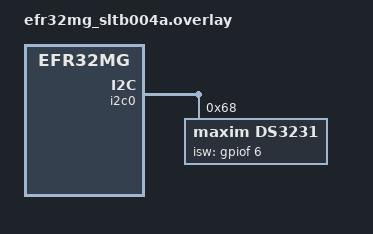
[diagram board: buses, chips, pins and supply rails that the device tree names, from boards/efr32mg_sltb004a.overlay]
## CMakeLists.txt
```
# SPDX-License-Identifier: Apache-2.0

cmake_minimum_required(VERSION 3.13.1)
find_package(Zephyr HINTS $ENV{ZEPHYR_BASE})
project(rtc_ds3231)

FILE(GLOB app_sources src/*.c)
target_sources(app PRIVATE ${app_sources})
```

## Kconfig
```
# Copyright (c) 2019 Peter Bigot Consulting, LLC
#
# SPDX-License-Identifier: Apache-2.0
#

config APP_SET_ALIGNED_CLOCK
	bool "Option to align RTC with time-since-boot"
	help
	  If enabled this reads the RTC then sets it so that uptime
	  shows as being relative to the start of the next hour.

config APP_ALIGNED_CLOCK_POSIX
	int "Optional time to use when aligning the RTC"
	depends on APP_SET_ALIGNED_CLOCK
	help
	  If provided this value, rather than the current RTC value,
	  will be used when aligning the RTC with time-since boot.

	  The value should be the number of seconds since
	  1970-01-01T00:00:00Z.  For example, 1546300800 corresponds
	  to 2019-01-01T00:00:00Z.

source "$ZEPHYR_BASE/Kconfig"
```

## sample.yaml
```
sample:
  description: DS3231 sample program
  name: rtc_ds3231
tests:
  sample.driver.rtc_ds3231:
    build_only: true
    platform_whitelist: efr32mg_sltb004a frdm_k64f nrf51_pca10028 nucleo_l476rg particle_xenon
```

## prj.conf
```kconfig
CONFIG_PRINTK=y

CONFIG_I2C=y
CONFIG_COUNTER=y
CONFIG_COUNTER_DS3231=y

# Minimal libc doesn't have strftime()
CONFIG_NEWLIB_LIBC=y

# Optional step that syncs RTC and local clock.  Don't enable this if
# your RTC has already been synchronized and you want to keep its
# setting.
CONFIG_APP_SET_ALIGNED_CLOCK=y

#CONFIG_LOG=y
#CONFIG_COUNTER_LOG_LEVEL_DBG=y
```

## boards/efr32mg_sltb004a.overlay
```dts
/*
 * Copyright (c) 2019 Peter Bigot Consulting, LLC
 *
 * SPDX-License-Identifier: Apache-2.0
 */

&i2c0 { /* SDA H16=PC10, SCL H15=PC11, ISW H13=PF6 */
	ds3231@68 {
		compatible = "maxim,ds3231";
		reg = <0x68>;
		label = "DS3231";
		isw-gpios = <&gpiof 6 0>;
	};
};
```

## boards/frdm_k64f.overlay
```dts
/*
 * Copyright (c) 2019 Peter Bigot Consulting, LLC
 *
 * SPDX-License-Identifier: Apache-2.0
 */

&i2c0 { /* SDA PTE25, SCL PTE24, ISW PTE26 */
	ds3231@68 {
		compatible = "maxim,ds3231";
		reg = <0x68>;
		label = "DS3231";
		isw-gpios = <&gpioe 26 0>;
	};
};
```

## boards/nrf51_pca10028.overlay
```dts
/*
 * Copyright (c) 2019 Peter Bigot Consulting, LLC
 *
 * SPDX-License-Identifier: Apache-2.0
 */

&i2c0 { /* SDA 30, SCL 7 */
	ds3231@68 {
		compatible = "maxim,ds3231";
		reg = <0x68>;
		label = "DS3231";
		isw-gpios = <&gpio0 0 0>;
	};
};
```

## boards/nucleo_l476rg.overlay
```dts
/*
 * Copyright (c) 2019 Peter Bigot Consulting, LLC
 *
 * SPDX-License-Identifier: Apache-2.0
 */

&i2c1 { /* SDA CN5.9=PB9, SCL CN5.10=PB8, ISW CN5.1=D8=PA9 */
	ds3231@68 {
		compatible = "maxim,ds3231";
		reg = <0x68>;
		label = "DS3231";
		isw-gpios = <&gpioa 9 0>;
	};
};
```

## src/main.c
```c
/*
 * Copyright (c) 2019-2020 Peter Bigot Consulting, LLC
 *
 * SPDX-License-Identifier: Apache-2.0
 */

#include <stdio.h>

#include <zephyr.h>
#include <device.h>
#include <drivers/counter.h>
#include <sys/printk.h>
#include <drivers/rtc/ds3231.h>

/* Format times as: YYYY-MM-DD HH:MM:SS DOW DOY */
static const char *format_time(time_t time,
			       long nsec)
{
	static char buf[64];
	char *bp = buf;
	char *const bpe = bp + sizeof(buf);
	struct tm tv;
	struct tm *tp = gmtime_r(&time, &tv);

	bp += strftime(bp, bpe - bp, "%Y-%m-%d %H:%M:%S", tp);
	if (nsec >= 0) {
		bp += snprintf(bp, bpe - bp, ".%09lu", nsec);
	}
	bp += strftime(bp, bpe - bp, " %a %j", tp);
	return buf;
}

static void sec_counter_callback(struct device *dev,
				 u8_t id,
				 u32_t ticks,
				 void *ud)
{
	printk("Counter callback at %u ms, id %d, ticks %u, ud %p\n",
	       k_uptime_get_32(), id, ticks, ud);
}

static void sec_alarm_handler(struct device *dev,
			      u8_t id,
			      u32_t syncclock,
			      void *ud)
{
	u32_t now = rtc_ds3231_read_syncclock(dev);
	struct counter_alarm_cfg alarm = {
		.callback = sec_counter_callback,
		.ticks = 10,
		.user_data = ud,
	};

	printk("setting channel alarm\n");
	int rc = counter_set_channel_alarm(dev, id, &alarm);

	printk("Sec signaled at %u ms, param %p, delay %u; set %d\n",
	       k_uptime_get_32(), ud, now - syncclock, rc);
}


/** Calculate the normalized result of a - b.
 *
 * For both inputs and outputs tv_nsec must be in the range [0,
 * NSEC_PER_SEC).  tv_sec may be negative, zero, or positive.
 */
void timespec_subtract(struct timespec *amb,
		       const struct timespec *a,
		       const struct timespec *b)
{
	if (a->tv_nsec >= b->tv_nsec) {
		amb->tv_nsec = a->tv_nsec - b->tv_nsec;
		amb->tv_sec = a->tv_sec - b->tv_sec;
	} else {
		amb->tv_nsec = NSEC_PER_SEC + a->tv_nsec - b->tv_nsec;
		amb->tv_sec = a->tv_sec - b->tv_sec - 1;
	}
}

/** Calculate the normalized result of a + b.
 *
 * For both inputs and outputs tv_nsec must be in the range [0,
 * NSEC_PER_SEC).  tv_sec may be negative, zero, or positive.
 */
void timespec_add(struct timespec *apb,
		  const struct timespec *a,
		  const struct timespec *b)
{
	apb->tv_nsec = a->tv_nsec + b->tv_nsec;
	apb->tv_sec = a->tv_sec + b->tv_sec;
	if (apb->tv_nsec >= NSEC_PER_SEC) {
		apb->tv_sec += 1;
		apb->tv_nsec -= NSEC_PER_SEC;
	}
}

static void min_alarm_handler(struct device *dev,
			      u8_t id,
			      u32_t syncclock,
			      void *ud)
{
	u32_t time = 0;
	struct rtc_ds3231_syncpoint sp = { 0 };

	(void)counter_get_value(dev, &time);

	u32_t uptime = k_uptime_get_32();
	u8_t us = uptime % 1000U;

	uptime /= 1000U;
	u8_t se = uptime % 60U;

	uptime /= 60U;
	u8_t mn = uptime % 60U;

	uptime /= 60U;
	u8_t hr = uptime;

	(void)rtc_ds3231_get_syncpoint(dev, &sp);

	u32_t offset_syncclock = syncclock - sp.syncclock;
	u32_t offset_s = time - (u32_t)sp.rtc.tv_sec;
	u32_t syncclock_Hz = rtc_ds3231_syncclock_frequency(dev);
	struct timespec adj;

	adj.tv_sec = offset_syncclock / syncclock_Hz;
	adj.tv_nsec = (offset_syncclock % syncclock_Hz) * (u64_t)NSEC_PER_SEC / syncclock_Hz;

	s32_t err_ppm = (s32_t)(offset_syncclock - offset_s * syncclock_Hz) * (s64_t)1000000
			/ (s32_t)syncclock_Hz / (s32_t)offset_s;
	struct timespec *ts = &sp.rtc;

	ts->tv_sec += adj.tv_sec;
	ts->tv_nsec += adj.tv_nsec;
	if (ts->tv_nsec >= NSEC_PER_SEC) {
		ts->tv_sec += 1;
		ts->tv_nsec -= NSEC_PER_SEC;
	}

	printk("%s: adj %d.%09lu, uptime %u:%02u:%02u.%03u, clk err %d ppm\n",
	       format_time(time, -1),
	       (u32_t)(ts->tv_sec - time), ts->tv_nsec,
	       hr, mn, se, us, err_ppm);
}

struct rtc_ds3231_alarm sec_alarm;
struct rtc_ds3231_alarm min_alarm;

static void show_counter(struct device *ds3231)
{
	u32_t now = 0;

	printk("\nCounter at %p\n", ds3231);
	printk("\tMax top value: %u (%08x)\n",
	       counter_get_max_top_value(ds3231),
	       counter_get_max_top_value(ds3231));
	printk("\t%u channels\n", counter_get_num_of_channels(ds3231));
	printk("\t%u Hz\n", counter_get_frequency(ds3231));

	printk("Top counter value: %u (%08x)\n",
	       counter_get_top_value(ds3231),
	       counter_get_top_value(ds3231));

	(void)counter_get_value(ds3231, &now);

	printk("Now %u: %s\n", now, format_time(now, -1));
}

/* Take the currently stored RTC time and round it up to the next
 * hour.  Program the RTC as though this time had occurred at the
 * moment the application booted.
 *
 * Subsequent reads of the RTC time adjusted based on a syncpoint
 * should match the uptime relative to the programmed hour.
 */
static void set_aligned_clock(struct device *ds3231)
{
	if (!IS_ENABLED(CONFIG_APP_SET_ALIGNED_CLOCK)) {
		return;
	}

	u32_t syncclock_Hz = rtc_ds3231_syncclock_frequency(ds3231);
	u32_t syncclock = rtc_ds3231_read_syncclock(ds3231);
	u32_t now = 0;
	int rc = counter_get_value(ds3231, &now);
	u32_t align_hour = now + 3600 - (now % 3600);

	struct rtc_ds3231_syncpoint sp = {
		.rtc = {
			.tv_sec = align_hour,
			.tv_nsec = (u64_t)NSEC_PER_SEC * syncclock / syncclock_Hz,
		},
		.syncclock = syncclock,
	};

	struct k_poll_signal ss;
	struct sys_notify notify;
	struct k_poll_event sevt = K_POLL_EVENT_INITIALIZER(K_POLL_TYPE_SIGNAL,
							    K_POLL_MODE_NOTIFY_ONLY,
							    &ss);

	k_poll_signal_init(&ss);
	sys_notify_init_signal(&notify, &ss);

	u32_t t0 = k_uptime_get_32();

	rc = rtc_ds3231_set(ds3231, &sp, &notify);

	printk("\nSet %s at %u ms past: %d\n", format_time(sp.rtc.tv_sec, sp.rtc.tv_nsec),
	       syncclock, rc);

	/* Wait for the set to complete */
	rc = k_poll(&sevt, 1, K_FOREVER);

	u32_t t1 = k_uptime_get_32();

	/* Delay so log messages from sync can complete */
	k_sleep(K_MSEC(100));
	printk("Synchronize final: %d %d in %u ms\n", rc, ss.result, t1 - t0);

	rc = rtc_ds3231_get_syncpoint(ds3231, &sp);
	printk("wrote sync %d: %u %u at %u\n", rc,
	       (u32_t)sp.rtc.tv_sec, (u32_t)sp.rtc.tv_nsec,
	       sp.syncclock);
}

void main(void)
{
	struct device *ds3231;
	const char *const dev_id = DT_LABEL(DT_INST(0, maxim_ds3231));

	ds3231 = device_get_binding(dev_id);
	if (!ds3231) {
		printk("No device %s available\n", dev_id);
		return;
	}

	u32_t syncclock_Hz = rtc_ds3231_syncclock_frequency(ds3231);

	printk("DS3231 on %s syncclock %u Hz\n\n", CONFIG_BOARD, syncclock_Hz);

	int rc = rtc_ds3231_stat_update(ds3231, 0, RTC_DS3231_REG_STAT_OSF);

	if (rc >= 0) {
		printk("DS3231 has%s experienced an oscillator fault\n",
		       (rc & RTC_DS3231_REG_STAT_OSF) ? "" : " not");
	} else {
		printk("DS3231 stat fetch failed: %d\n", rc);
		return;
	}

	/* Show the DS3231 counter properties */
	show_counter(ds3231);

	/* Show the DS3231 ctrl and ctrl_stat register values */
	printk("\nDS3231 ctrl %02x ; ctrl_stat %02x\n",
	       rtc_ds3231_ctrl_update(ds3231, 0, 0),
	       rtc_ds3231_stat_update(ds3231, 0, 0));

	/* Test rtc_ds3231_set, if enabled */
	set_aligned_clock(ds3231);

	struct k_poll_signal ss;
	struct sys_notify notify;
	struct rtc_ds3231_syncpoint sp = { 0 };
	struct k_poll_event sevt = K_POLL_EVENT_INITIALIZER(K_POLL_TYPE_SIGNAL,
							    K_POLL_MODE_NOTIFY_ONLY,
							    &ss);

	k_poll_signal_init(&ss);
	sys_notify_init_signal(&notify, &ss);

	u32_t t0 = k_uptime_get_32();

	rc = rtc_ds3231_synchronize(ds3231, &notify);
	printk("\nSynchronize init: %d\n", rc);

	rc = k_poll(&sevt, 1, K_FOREVER);

	u32_t t1 = k_uptime_get_32();

	k_sleep(K_MSEC(100));   /* wait for log messages */

	printk("Synchronize complete in %u ms: %d %d\n", t1 - t0, rc, ss.result);

	rc = rtc_ds3231_get_syncpoint(ds3231, &sp);
	printk("\nread sync %d: %u %u at %u\n", rc,
	       (u32_t)sp.rtc.tv_sec, (u32_t)sp.rtc.tv_nsec,
	       sp.syncclock);

	rc = rtc_ds3231_get_alarm(ds3231, 0, &sec_alarm);
	printk("\nAlarm 1 flags %x at %u: %d\n", sec_alarm.flags,
	       (u32_t)sec_alarm.time, rc);
	rc = rtc_ds3231_get_alarm(ds3231, 1, &min_alarm);
	printk("Alarm 2 flags %x at %u: %d\n", min_alarm.flags,
	       (u32_t)min_alarm.time, rc);

	/* One-shot auto-disable callback in 5 s.  The handler will
	 * then use the base device counter API to schedule a second
	 * alarm 10 s later.
	 */
	sec_alarm.time = sp.rtc.tv_sec + 5;
	sec_alarm.flags = RTC_DS3231_ALARM_FLAGS_AUTODISABLE
			  | RTC_DS3231_ALARM_FLAGS_DOW;
	sec_alarm.handler = sec_alarm_handler;
	sec_alarm.user_data = &sec_alarm;

	printk("Min Sec base time: %s\n", format_time(sec_alarm.time, -1));

	/* Repeating callback at rollover to a new minute. */
	min_alarm.time = sec_alarm.time;
	min_alarm.flags = 0
			  | RTC_DS3231_ALARM_FLAGS_IGNDA
			  | RTC_DS3231_ALARM_FLAGS_IGNHR
			  | RTC_DS3231_ALARM_FLAGS_IGNMN
			  | RTC_DS3231_ALARM_FLAGS_IGNSE;
	min_alarm.handler = min_alarm_handler;

	rc = rtc_ds3231_set_alarm(ds3231, 0, &sec_alarm);
	printk("Set sec alarm %x at %u ~ %s: %d\n", sec_alarm.flags,
	       (u32_t)sec_alarm.time, format_time(sec_alarm.time, -1), rc);

	rc = rtc_ds3231_set_alarm(ds3231, 1, &min_alarm);
	printk("Set min alarm flags %x at %u ~ %s: %d\n", min_alarm.flags,
	       (u32_t)min_alarm.time, format_time(min_alarm.time, -1), rc);

	printk("%u ms in: get alarms: %d %d\n", k_uptime_get_32(),
	       rtc_ds3231_get_alarm(ds3231, 0, &sec_alarm),
	       rtc_ds3231_get_alarm(ds3231, 1, &min_alarm));
	if (rc >= 0) {
		printk("Sec alarm flags %x at %u ~ %s\n", sec_alarm.flags,
		       (u32_t)sec_alarm.time, format_time(sec_alarm.time, -1));

		printk("Min alarm flags %x at %u ~ %s\n", min_alarm.flags,
		       (u32_t)min_alarm.time, format_time(min_alarm.time, -1));
	}

	k_sleep(K_FOREVER);
}
```
